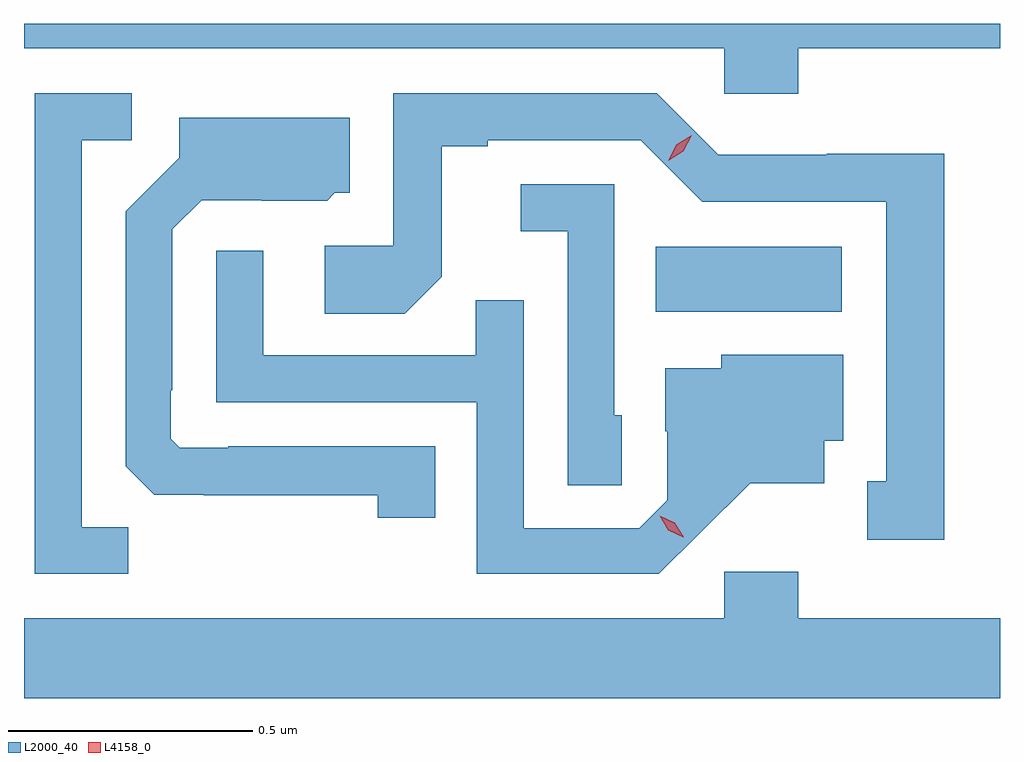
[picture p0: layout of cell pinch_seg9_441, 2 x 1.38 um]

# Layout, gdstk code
import gdstk
lib = gdstk.Library(unit=1e-6, precision=1e-09)
def R(c, l, rs):  # rectangles x0, y0, x1, y1
    for r in rs: c.add(gdstk.rectangle(r[:2], r[2:], *l))
def P(c, l, *ps):  # polygons
    for p in ps: c.add(gdstk.Polygon(p, *l))
L2000_40 = (2000, 40)
L4158_0 = (4158, 0)

pinch_seg9_441 = lib.new_cell('pinch_seg9_441')
R(pinch_seg9_441, L2000_40, [(227.722,1229.18,228.103,1229.314)])
P(pinch_seg9_441, L2000_40, [(228.014,1229.72),(228.427,1229.72),(228.427,1229.771),(226.427,1229.771),(226.427,1229.72),(227.862,1229.72),(227.862,1229.627),(228.014,1229.627)],
  [(228.313,1229.504),(228.072,1229.504),(228.072,1229.502),(227.85,1229.502),(227.724,1229.628),(227.184,1229.628),(227.184,1229.316),(227.043,1229.316),(227.043,1229.176),(227.207,1229.176),(227.283,1229.252),(227.283,1229.52),(227.377,1229.52),(227.377,1229.532),(227.691,1229.532),(227.817,1229.406),(228.194,1229.406),(228.194,1228.833),(228.155,1228.833),(228.155,1228.713),(228.313,1228.713)],
  [(226.641,1228.739),(226.545,1228.739),(226.545,1229.532),(226.648,1229.532),(226.648,1229.628),(226.449,1229.628),(226.449,1228.644),(226.641,1228.644)],
  [(227.27,1228.905),(226.846,1228.905),(226.846,1228.902),(226.746,1228.902),(226.728,1228.92),(226.728,1229.02),(226.731,1229.02),(226.731,1229.349),(226.791,1229.409),(226.914,1229.409),(226.914,1229.408),(227.048,1229.408),(227.064,1229.424),(227.095,1229.424),(227.095,1229.578),(226.745,1229.578),(226.745,1229.496),(226.635,1229.386),(226.635,1228.864),(226.694,1228.805),(226.795,1228.805),(226.795,1228.804),(227.152,1228.804),(227.152,1228.758),(227.27,1228.758)],
  [(227.652,1228.968),(227.637,1228.968),(227.637,1229.442),(227.445,1229.442),(227.445,1229.345),(227.541,1229.345),(227.541,1228.825),(227.652,1228.825)],
  [(227.812,1228.727),(227.915,1228.829),(228.067,1228.829),(228.067,1228.916),(228.106,1228.916),(228.106,1229.092),(227.856,1229.092),(227.856,1229.065),(227.741,1229.065),(227.741,1228.936),(227.745,1228.936),(227.745,1228.794),(227.688,1228.737),(227.451,1228.737),(227.451,1229.204),(227.353,1229.204),(227.353,1229.091),(226.917,1229.091),(226.917,1229.305),(226.821,1229.305),(226.821,1228.995),(227.355,1228.995),(227.355,1228.644),(227.728,1228.644)],
  [(228.427,1228.552),(228.014,1228.552),(228.014,1228.648),(227.862,1228.648),(227.862,1228.552),(226.427,1228.552),(226.427,1228.388),(228.427,1228.388)])
P(pinch_seg9_441, L4158_0, [(227.747,1229.49),(227.747,1229.49),(227.764,1229.523),(227.795,1229.542),(227.795,1229.542),(227.795,1229.542),(227.778,1229.509),(227.747,1229.49)],
  [(227.778,1228.718),(227.747,1228.733),(227.73,1228.762),(227.73,1228.762),(227.73,1228.762),(227.761,1228.748),(227.779,1228.718),(227.779,1228.718)])

lib.write_gds('pinch_seg9_441.gds')
